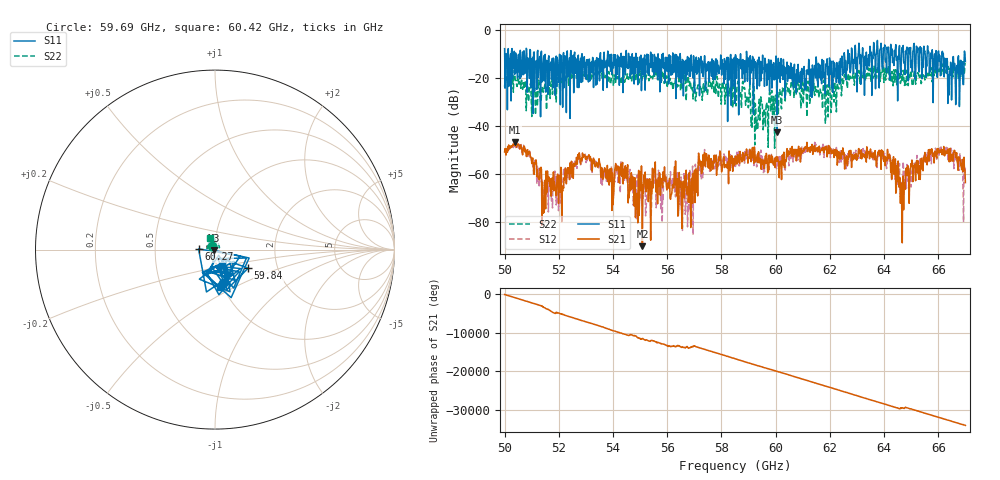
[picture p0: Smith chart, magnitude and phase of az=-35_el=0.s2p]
!Created with skrf (http://scikit-rf.org).
# GHz S RI R 50.0
!freq ReS11 ImS11 ReS21 ImS21 ReS12 ImS12 ReS22 ImS22
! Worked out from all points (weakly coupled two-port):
!   1001 points, 50 GHz to 67 GHz, reference 50 ohm
!   highest |S21| = -46.77 dB at 50.39 GHz (marker M1); lowest = -90.0 dB at 55.08 GHz (marker M2)
!   lowest |S11| = -42.7 dB at 60.05 GHz (marker M3), VSWR 1.01, Z = 49.4 - j0.442 ohm
!   |S11| at or under -10 dB: 52.59 GHz to 53.53 GHz (946.6 MHz wide, 1.78 % of centre); 56.48 GHz to 58.92 GHz (2.446 GHz wide, 4.24 % of centre); 58.93 GHz to 62.53 GHz (3.598 GHz wide, 5.92 % of centre) (the widest 3 of 65)
!   |S22| runs from -49.3 to -13.1 dB; largest |S21 - S12| = 0.0021
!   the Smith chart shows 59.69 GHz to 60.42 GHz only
!   S11 on the Smith chart (normalised r, x): 59.69 GHz: 1.01, -0.39; 59.84 GHz: 1.41, -0.31; 60.27 GHz: 0.83, +0.01; 60.42 GHz: 0.96, -0.42
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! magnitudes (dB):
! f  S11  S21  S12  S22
! 50 GHz  -8.0  -50.8  -50.0  -23.8
! 50.39 GHz  -10.9  -46.8  -47.3  -20.6
! 50.92 GHz  -20.3  -50.5  -51.1  -24.1
! 51.46 GHz  -21.3  -69.2  -73.4  -24.6
! 52.84 GHz  -11.1  -53.5  -55.2  -19.9
! 55.08 GHz  -13.2  -90.0  -66.4  -19.8
! 55.68 GHz  -13.7  -61.5  -58.5  -20.9
! 56.48 GHz  -10.0  -65.5  -72.8  -23.1
! 56.83 GHz  -15.7  -71.9  -58.1  -21.8
! 57.41 GHz  -25.4  -57.0  -54.6  -21.3
! 58.5 GHz  -30.7  -55.5  -52.6  -23.7
! 59.69 GHz  -14.4  -54.9  -53.7  -31.7
! 59.84 GHz  -13.5  -52.2  -51.9  -25.8
! 60.05 GHz  -42.7  -54.8  -57.1  -28.5
! 60.27 GHz  -20.8  -55.8  -51.8  -25.1
! 60.42 GHz  -13.5  -49.5  -52.2  -22.9
! 61.34 GHz  -28.2  -47.7  -49.1  -26.1
! 64.18 GHz  -12.0  -53.5  -52.2  -17.2
! 64.69 GHz  -7.8  -62.0  -72.0  -19.1
! 65.69 GHz  -13.4  -49.8  -50.7  -19.1
! 66.44 GHz  -19.0  -49.4  -51.3  -16.4
! 67 GHz  -13.3  -63.6  -57.1  -14.3
